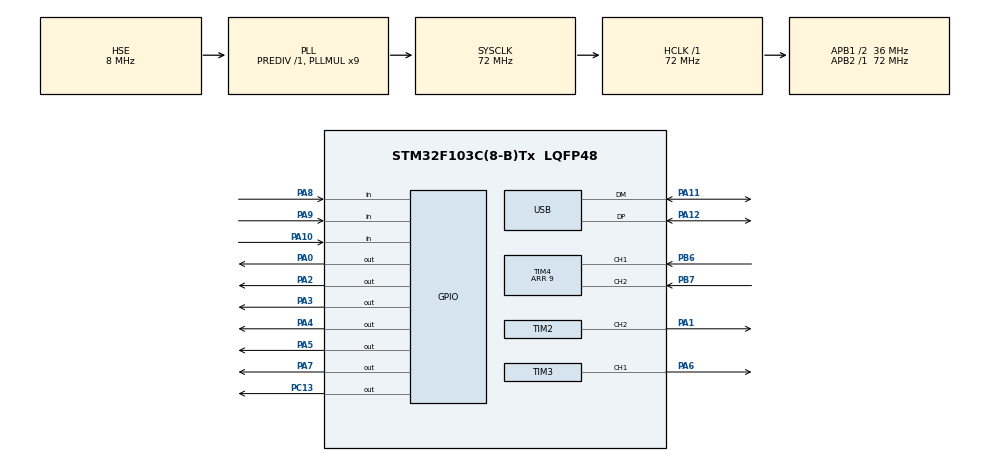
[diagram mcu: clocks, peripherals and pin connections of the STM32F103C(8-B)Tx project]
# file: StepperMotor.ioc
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Mcu.Family=STM32F1
Mcu.Name=STM32F103C(8-B)Tx
Mcu.Package=LQFP48
NVIC.PriorityGroup=NVIC_PRIORITYGROUP_4
NVIC.TIM2_IRQn=true\:0\:0\:false\:false\:true\:true\:true
NVIC.TIM3_IRQn=true\:0\:0\:false\:false\:true\:true\:true
NVIC.TIM4_IRQn=true\:0\:0\:false\:false\:true\:true\:true
NVIC.USB_LP_CAN1_RX0_IRQn=true\:0\:0\:false\:false\:true\:false\:true
PA0-WKUP.GPIO_ModeDefaultOutputPP=GPIO_MODE_OUTPUT_OD
PA0-WKUP.Signal=GPIO_Output
PA1.GPIO_ModeDefaultPP=GPIO_MODE_AF_OD
PA1.Signal=S_TIM2_CH2
PA10.GPIO_PuPd=GPIO_PULLUP
PA10.Signal=GPIO_Input
PA11.Mode=Device
PA11.Signal=USB_DM
PA12.Mode=Device
PA12.Signal=USB_DP
PA13.Mode=JTAG_4_pins
PA13.Signal=SYS_JTMS-SWDIO
PA14.Mode=JTAG_4_pins
PA14.Signal=SYS_JTCK-SWCLK
PA15.Mode=JTAG_4_pins
PA15.Signal=SYS_JTDI
PA2.GPIO_ModeDefaultOutputPP=GPIO_MODE_OUTPUT_OD
PA2.Signal=GPIO_Output
PA3.Signal=GPIO_Output
PA4.GPIO_ModeDefaultOutputPP=GPIO_MODE_OUTPUT_OD
PA4.Signal=GPIO_Output
PA5.GPIO_ModeDefaultOutputPP=GPIO_MODE_OUTPUT_OD
PA5.Signal=GPIO_Output
PA6.GPIO_ModeDefaultPP=GPIO_MODE_AF_OD
PA6.Signal=S_TIM3_CH1
PA7.Signal=GPIO_Output
PA8.GPIO_PuPd=GPIO_PULLUP
PA8.Signal=GPIO_Input
PA9.GPIO_PuPd=GPIO_PULLUP
PA9.Signal=GPIO_Input
PB3.Mode=JTAG_4_pins
PB3.Signal=SYS_JTDO-TRACESWO
PB6.GPIO_PuPd=GPIO_PULLUP
PB6.Signal=S_TIM4_CH1
PB7.GPIO_PuPd=GPIO_PULLUP
PB7.Signal=S_TIM4_CH2
PC13-TAMPER-RTC.Signal=GPIO_Output
PD0-OSC_IN.Mode=HSE-External-Oscillator
PD0-OSC_IN.Signal=RCC_OSC_IN
PD1-OSC_OUT.Mode=HSE-External-Oscillator
PD1-OSC_OUT.Signal=RCC_OSC_OUT
ProjectManager.HeapSize=0x200
ProjectManager.StackSize=0x400
ProjectManager.TargetToolchain=MDK-ARM V5
RCC.AHBFreq_Value=72000000
RCC.APB1CLKDivider=RCC_HCLK_DIV2
RCC.APB1Freq_Value=36000000
RCC.APB1TimFreq_Value=72000000
RCC.APB2Freq_Value=72000000
RCC.APB2TimFreq_Value=72000000
RCC.HCLKFreq_Value=72000000
RCC.PLLMUL=RCC_PLL_MUL9
RCC.PLLSourceVirtual=RCC_PLLSOURCE_HSE
RCC.SYSCLKFreq_VALUE=72000000
RCC.SYSCLKSource=RCC_SYSCLKSOURCE_PLLCLK
RCC.USBFreq_Value=48000000
RCC.USBPrescaler=RCC_USBCLKSOURCE_PLL_DIV1_5
SH.S_TIM2_CH2.0=TIM2_CH2,Output Compare2 CH2
SH.S_TIM3_CH1.0=TIM3_CH1,Output Compare1 CH1
SH.S_TIM4_CH1.0=TIM4_CH1,Encoder_Interface
SH.S_TIM4_CH2.0=TIM4_CH2,Encoder_Interface
TIM2.AutoReloadPreload=TIM_AUTORELOAD_PRELOAD_ENABLE
TIM2.Channel-Output\ Compare2\ CH2=TIM_CHANNEL_2
TIM2.OCMode_2=TIM_OCMODE_TOGGLE
TIM2.Period=9
TIM2.Prescaler=7199
TIM2.TIM_MasterOutputTrigger=TIM_TRGO_RESET
TIM2.TIM_MasterSlaveMode=TIM_MASTERSLAVEMODE_DISABLE
TIM3.AutoReloadPreload=TIM_AUTORELOAD_PRELOAD_ENABLE
TIM3.Channel-Output\ Compare1\ CH1=TIM_CHANNEL_1
TIM3.OCMode_1=TIM_OCMODE_TOGGLE
TIM3.Period=9
TIM3.Prescaler=7199
TIM4.AutoReloadPreload=TIM_AUTORELOAD_PRELOAD_DISABLE
TIM4.IC1Filter=10
TIM4.IC1Polarity=TIM_ICPOLARITY_FALLING
TIM4.IC1Prescaler=TIM_ICPSC_DIV1
TIM4.IC2Filter=10
TIM4.IC2Polarity=TIM_ICPOLARITY_FALLING
TIM4.Period=9
TIM4.TIM_MasterOutputTrigger=TIM_TRGO_RESET
USB_DEVICE.CLASS_NAME_FS=CDC
USB_DEVICE.VirtualMode=Cdc
USB_DEVICE.VirtualModeFS=Cdc_FS
VP_TIM2_VS_ClockSourceINT.Mode=Internal
VP_TIM3_VS_ClockSourceINT.Mode=Internal
VP_USB_DEVICE_VS_USB_DEVICE_CDC_FS.Mode=CDC_FS
board=custom

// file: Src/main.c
/* USER CODE BEGIN Header */
/**
  ******************************************************************************
  * @file           : main.c
  * @brief          : Main program body
  ******************************************************************************
  * @attention
  *
  * <h2><center>&copy; Copyright (c) 2019 STMicroelectronics.
  * All rights reserved.</center></h2>
  *
  * This software component is licensed by ST under BSD 3-Clause license,
  * the "License"; You may not use this file except in compliance with the
  * License. You may obtain a copy of the License at:
  *                        opensource.org/licenses/BSD-3-Clause
  *
  ******************************************************************************
  */
/* USER CODE END Header */

#include "main.h"
#include "tim.h"
#include "usb_device.h"
#include "gpio.h"

/* USER CODE BEGIN Includes */
#include "motors/motor.h"
#include "modbus/modbus.h"
#include "globals/globals.h"
#include "dio/digitalInputs.h"
#include "dio/digitalOutputs.h"
#include "stm32f1xx_it.h"
#include "usbd_cdc_if.h"
/* USER CODE END Includes */

/* USER CODE BEGIN PV */
uint32_t WorkMode;

Motor motor1;
Motor motor2;
/* USER CODE END PV */

void SystemClock_Config(void);
/* USER CODE BEGIN PFP */
void Motor1StepCounter(void);
void Motor2StepCounter(void);
/* USER CODE END PFP */

int main(void)
{

  /* MCU Configuration--------------------------------------------------------*/

  /* Reset of all peripherals, Initializes the Flash interface and the Systick. */
  HAL_Init();

  /* Configure the system clock */
  SystemClock_Config();

  /* Initialize all configured peripherals */
  MX_GPIO_Init();
  MX_TIM2_Init();
  MX_USB_DEVICE_Init();
  MX_TIM3_Init();
  MX_TIM4_Init();
  /* USER CODE BEGIN 2 */

	// motor1 init
	MotorInit
	(
		&motor1,
		100,	// motor speed
		// timer callbacks
		Timer2SetMotorSpeed,
		Timer2SetOnePulseMode,
		Timer2SetRunMode,
		Timer2OnOff,

		// GPIO callbacks
		SetMotor1En,
		SetMotor1Dir
	);

	// motor2 init
	MotorInit
	(
		&motor2,
		100,	// motor speed
		// timer callbacks
		Timer3SetMotorSpeed,
		Timer3SetOnePulseMode,
		Timer3SetRunMode,
		Timer3OnOff,

		// GPIO callbacks
		SetMotor2En,
		SetMotor2Dir
	);

	ModbusInit(GetReadRegValue, SetReadRegValue, GetReadWriteRegValue, SetReadWriteRegValue, CDC_Transmit_FS, USB_Receive_FS);

	GlobalsInit();

	DI_Init(GetDigitalInputsState);
	DO_Init(SetReset_PE_Signal, ASF_SignalOnOff);

	HAL_TIM_Encoder_Start(&htim4, TIM_CHANNEL_1);// | TIM_CHANNEL_2);
	HAL_TIM_Base_Start_IT(&htim4);

	// motor 1
	Tim2StepCounter = Motor1StepCounter;
	HAL_TIM_Base_Start_IT(&htim2);
	// motor 2
	Tim3StepCounter = Motor2StepCounter;
	HAL_TIM_Base_Start_IT(&htim3);

  /* USER CODE END 2 */

  /* Infinite loop */
  /* USER CODE BEGIN WHILE */
	WorkMode = MODE_ON;
  while (1)
  {
		ModbusProcess();
		DI_Process();

		RR_EncoderCnt = (uint16_t)htim4.Instance->CNT;
		RR_Motor1Steps = motor1.steps;
		RR_Motor2Steps = motor2.steps;
		RR_DI_Inputs = DI_GetInputReg();

    /* USER CODE END WHILE */

  }
}

void SystemClock_Config(void)
{
  RCC_OscInitTypeDef RCC_OscInitStruct = {0};
  RCC_ClkInitTypeDef RCC_ClkInitStruct = {0};
  RCC_PeriphCLKInitTypeDef PeriphClkInit = {0};

  /** Initializes the CPU, AHB and APB busses clocks
  */
  RCC_OscInitStruct.OscillatorType = RCC_OSCILLATORTYPE_HSE;
  RCC_OscInitStruct.HSEState = RCC_HSE_ON;
  RCC_OscInitStruct.HSEPredivValue = RCC_HSE_PREDIV_DIV1;
  RCC_OscInitStruct.HSIState = RCC_HSI_ON;
  RCC_OscInitStruct.PLL.PLLState = RCC_PLL_ON;
  RCC_OscInitStruct.PLL.PLLSource = RCC_PLLSOURCE_HSE;
  RCC_OscInitStruct.PLL.PLLMUL = RCC_PLL_MUL9;
  if (HAL_RCC_OscConfig(&RCC_OscInitStruct) != HAL_OK)
  {
    Error_Handler();
  }
  /** Initializes the CPU, AHB and APB busses clocks
  */
  RCC_ClkInitStruct.ClockType = RCC_CLOCKTYPE_HCLK|RCC_CLOCKTYPE_SYSCLK
                              |RCC_CLOCKTYPE_PCLK1|RCC_CLOCKTYPE_PCLK2;
  RCC_ClkInitStruct.SYSCLKSource = RCC_SYSCLKSOURCE_PLLCLK;
  RCC_ClkInitStruct.AHBCLKDivider = RCC_SYSCLK_DIV1;
  RCC_ClkInitStruct.APB1CLKDivider = RCC_HCLK_DIV2;
  RCC_ClkInitStruct.APB2CLKDivider = RCC_HCLK_DIV1;

  if (HAL_RCC_ClockConfig(&RCC_ClkInitStruct, FLASH_LATENCY_2) != HAL_OK)
  {
    Error_Handler();
  }
  PeriphClkInit.PeriphClockSelection = RCC_PERIPHCLK_USB;
  PeriphClkInit.UsbClockSelection = RCC_USBCLKSOURCE_PLL_DIV1_5;
  if (HAL_RCCEx_PeriphCLKConfig(&PeriphClkInit) != HAL_OK)
  {
    Error_Handler();
  }
}

/* USER CODE BEGIN 4 */
void Motor1StepCounter(void)
{
	if(motor1.motorIsRun != 0)
	{
		MotorStepCounter(&motor1);
	}
}
void Motor2StepCounter(void)
{
	if(motor2.motorIsRun != 0)
	{
		MotorStepCounter(&motor2);
	}
}
/* USER CODE END 4 */

void Error_Handler(void)
{
}

/************************ (C) COPYRIGHT STMicroelectronics *****END OF FILE****/
